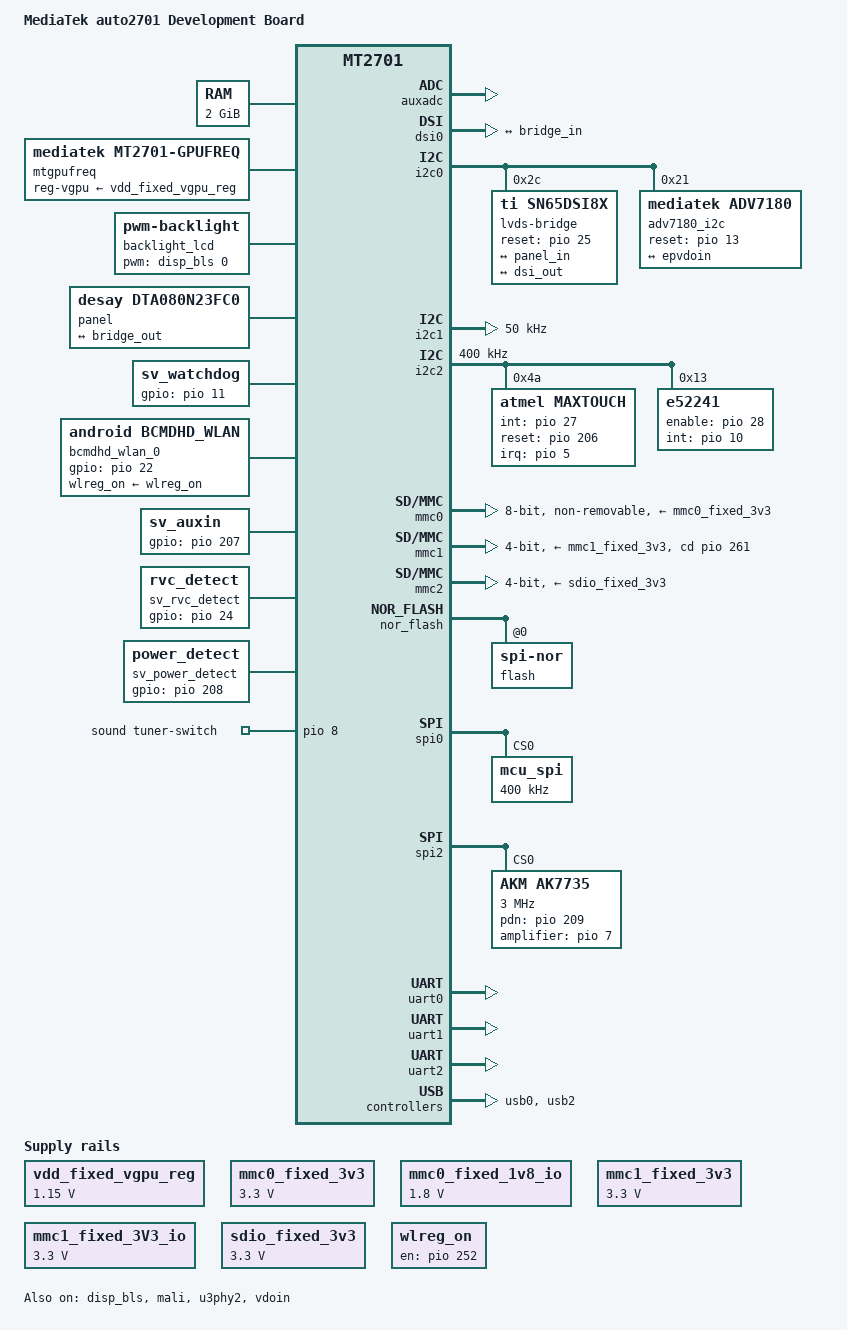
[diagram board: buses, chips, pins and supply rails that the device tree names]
/*
 * Copyright (c) 2015 MediaTek Inc.
 * Author: Erin Lo <erin.lo@mediatek.com>
 *
 * This program is free software; you can redistribute it and/or modify
 * it under the terms of the GNU General Public License as published by
 * the Free Software Foundation; either version 2 of the License.
 *
 * This program is distributed in the hope that it will be useful,
 * but WITHOUT ANY WARRANTY; without even the implied warranty of
 * MERCHANTABILITY or FITNESS FOR A PARTICULAR PURPOSE.  See the
 * GNU General Public License for more details.
 */

#include "mt2701.dtsi"

/ {
	model = "MediaTek auto2701 Development Board";
	compatible = "mediatek,auto2701evb2-ivi","mediatek,mt2701";

	memory {
		reg = <0 0x80000000 0 0x7fc00000>;
	};

	mtcpufreq {
		compatible = "mediatek,mt2701-cpufreq";
	};

	mtgpufreq {
		compatible = "mediatek,mt2701-gpufreq";
		reg-vgpu-supply = <&vdd_fixed_vgpu_reg>;
	};

	/* pwm */
	backlight_lcd: backlight_lcd {
		compatible = "pwm-backlight";
		pwms = <&disp_bls 0 100000>;
		brightness-levels = <
			  0  16  32  48  64  80  96 112
			128 144 160 176 192 208 224 240
			255
		>;
		default-brightness-level = <9>;
	};

	panel: panel {
		compatible = "desay,dta080n23fc0";

		port {
			panel_in: endpoint {
				remote-endpoint = <&bridge_out>;
			};
		};
	};

	vdd_fixed_vgpu_reg: fixedregulator@0 {
		compatible = "regulator-fixed";
		regulator-name = "vdd_fixed_vgpu";
		regulator-min-microvolt = <1150000>;
		regulator-max-microvolt = <1150000>;
	};

	mmc0_fixed_3v3: fixedregulator@1 {
		compatible = "regulator-fixed";
		regulator-name = "mmc0_power";
		regulator-min-microvolt = <3300000>;
		regulator-max-microvolt = <3300000>;
		enable-active-high;
	};

	mmc0_fixed_1v8_io: fixedregulator@2 {
		compatible = "regulator-fixed";
		regulator-name = "mmc0_io";
		regulator-min-microvolt = <1800000>;
		regulator-max-microvolt = <1800000>;
		enable-active-high;
	};

	mmc1_fixed_3v3: fixedregulator@3 {
		compatible = "regulator-fixed";
		regulator-name = "mmc1_power";
		regulator-min-microvolt = <3300000>;
		regulator-max-microvolt = <3300000>;
		enable-active-high;
	};

	mmc1_fixed_3V3_io: fixedregulator@4 {
		compatible = "regulator-fixed";
		regulator-name = "mmc1_io";
		regulator-min-microvolt = <3300000>;
		regulator-max-microvolt = <3300000>;
		enable-active-high;
	};

	sv_uio {
		compatible = "sv_uio";
		status = "okay";
		/* #define GPIOF_OUT_INIT_LOW	0 */
		/* #define GPIOF_OUT_INIT_HIGH	1 */
		/* #define GPIOF_DIR_IN		2 */

		#define GPIOF_DIR_OUT	(0 << 0)
		#define GPIOF_DIR_IN	(1 << 0)

		#define GPIOF_INIT_LOW	(0 << 1)
		#define GPIOF_INIT_HIGH	(1 << 1)

		#define GPIOF_IN		(GPIOF_DIR_IN)
		#define GPIOF_OUT_INIT_LOW	(GPIOF_DIR_OUT | GPIOF_INIT_LOW)
		#define GPIOF_OUT_INIT_HIGH	(GPIOF_DIR_OUT | GPIOF_INIT_HIGH)

		SOC2BT_EN {
			label = "bt_en";	/* SOC2BT_EN */
			gpios = <&pio 255 0>;
			flags = < GPIOF_OUT_INIT_HIGH >;
		};

		SOC2_TFT_EN {
			label = "backlight_en";	/* SOC2TFT_PWR_EN */
			gpios = <&pio 29 0>;
			flags = < GPIOF_OUT_INIT_HIGH >;
		};

		SOC2IPOD_RESET {
			label = "ipod_reset";	/* SOC2IPOD_RESET */
			gpios = <&pio 248 0>;
			flags = < GPIOF_OUT_INIT_LOW >;
		};

		GPS2SOC_AC_DET {
			label = "gps_ac_det";	/* GPS2SOC_AC_DET */
			gpios = <&pio 84 0>;
			flags = < GPIOF_IN >;
		};
	};

	watchdog{
		pinctrl-names = "default";
		pinctrl-0 = <&watchdog_gpio>;
		status = "okay";
		compatible = "sv_watchdog";
		gpios = <&pio 11 0>;

		};

	sdio_fixed_3v3: fixedregulator@5 {
		compatible = "regulator-fixed";
		regulator-name = "3V3";
		regulator-min-microvolt = <3300000>;
		regulator-max-microvolt = <3300000>;
		enable-active-high;
	};

	wlreg_on: fixedregulator@6 {
		compatible = "regulator-fixed";
		regulator-name = "wlreg_on";
		gpio = <&pio 252 0>;
		startup-delay-us = <600000>;
		enable-active-high;
	};

	bcmdhd_wlan_0: bcmdhd_wlan@7 {
		compatible = "android,bcmdhd_wlan";
		gpios = <&pio 22 0>;
		wlreg_on-supply = <&wlreg_on>;
	};

	sv_auxin {
		compatible = "sv_auxin";
		status = "okay";

		major-no = <233>;
		gpios = <&pio 207 0>;
	};

	sv_rvc_detect: sv_rvc_detect {
		pinctrl-names = "default";
		pinctrl-0 = <&rvc_detect_pin>;
		status = "okay";
		compatible = "rvc_detect";

		major-no = <234>;
		gpios = <&pio 24 0>;
	};

	sv_power_detect: sv_power_detect {
		pinctrl-names = "default";
		pinctrl-0 = <&power_detect_pin>;
		status = "okay";
		compatible = "power_detect";

		major-no = <235>;
		gpios = <&pio 208 0>;
	};
};

&auxadc {
	status = "okay";
};

&disp_bls {
	status = "okay";
};

&dsi0 {
	status = "okay";
	pinctrl-names = "default";
	pinctrl-0 = <&mipi_dsi_pin>;

	ports {
		#address-cells = <1>;
		#size-cells = <0>;

		port {
			dsi_out: endpoint {
				remote-endpoint = <&bridge_in>;
			};
		};
	};
};

&dpi0 {
	status = "disabled";
	port {
		dpi0_out: endpoint@0 {
			remote-endpoint = <&hdmi0_in>;
		};
		dpi0_in: endpoint@1 {
		};
	};
};

&gsw {
	interrupt-parent = <&pio>;
	interrupts = <129 IRQ_TYPE_EDGE_RISING>;
	status = "disabled";
};

&hdmi0 {
	status = "disabled";
};

&hdmiddc0 {
	status = "disabled";
};

&i2c0 {
	pinctrl-names = "default";
	pinctrl-0 = <&i2c0_pins_a>;
	status = "okay";

	lvds-bridge@2c {
		compatible = "ti,sn65dsi8x";
		reg = <0x2c>;
		pinctrl-names = "default";
		pinctrl-0 = <&bridge_reset_pin>;
		reset-gpios = <&pio 25 0>;
		#address-cells = <1>;
		#size-cells = <0>;

		ports {
			port@0 {
				bridge_out: endpoint {
					remote-endpoint = <&panel_in>;
				};
			};

			port@1 {
				bridge_in: endpoint {
					remote-endpoint = <&dsi_out>;
				};
			};
		};
	};
	
	adv7180_i2c@42 {
		compatible = "mediatek,adv7180";
		reg = <0x21>;
		pinctrl-names = "default";
		pinctrl-0 = <&camera_reset_pin>;
		reset-gpios = <&pio 13 0>;
		port {
			adv7180: endpoint {
				remote-endpoint = <&epvdoin>;
			};
		};
	};
};

&i2c1 {
	pinctrl-names = "default";
	pinctrl-0 = <&i2c1_pins_a>;
	status = "okay";
	clock-frequency = <50000>;
};

&i2c2 {
	pinctrl-names = "default";
	pinctrl-0 = <&i2c2_pins_a>;
	status = "okay";
   	clock-frequency = <400000>;

	maxtouch: touchscreen@4a {
		compatible = "atmel,maxtouch";
		reg = <0x4a>;
		int-gpio = <&pio 27 0>;
		interrupt-parent = <&pio>;
		interrupts = <5 IRQ_TYPE_EDGE_FALLING>;
		linux,gpio-keymap = <	0x0304	/* NAV   */
					0x030F	/* POWER */
					0x0300	/* RADIO */
					0x0318	/* VOL-  */
					0x0308	/* HOME  */
					0x0317	/* VOL+  */
		>;
		/* The configuration file should be downloaded once on
		 * production stage. It will be backed up to mXT449 NVRAM.
		 *
		 * atmel,cfg_name = "mxt449-cfg.raw";
		 */
		 atmel,reset-gpio = <&pio 206 0>;		
	};

	 e52241: e52241@13 {
		compatible = "e52241";
		reg = <0x13>;
		/* interrupt-parent = <&pio>; */
		/* interrupts = <6 IRQ_TYPE_LEVEL_LOW>; */
		enable-inverted = <1>;
		enable-gpio = <&pio 28 0>;
		int-gpio    = <&pio 10 0>;
    };
};

&mali {
	vdd_g3d-supply = <&vdd_fixed_vgpu_reg>;
	status = "okay";
};

&mmc0 {
	pinctrl-names = "default", "state_uhs";
	pinctrl-0 = <&mmc0_pins_default>;
	pinctrl-1 = <&mmc0_pins_uhs>;
	status = "okay";
	bus-width = <8>;
	max-frequency = <50000000>;
	mmc-ddr-1_8v;
	cap-mmc-highspeed;
	vmmc-supply = <&mmc0_fixed_3v3>;
	vqmmc-supply = <&mmc0_fixed_1v8_io>;
	non-removable;
};

&mmc1 {
	pinctrl-names = "default", "state_uhs";
	pinctrl-0 = <&mmc1_pins_default>;
	pinctrl-1 = <&mmc1_pins_uhs>;
	status = "okay";
	bus-width = <4>;
	max-frequency = <50000000>;
	cap-sd-highspeed;
	cd-gpios = <&pio 261 0>;
	vmmc-supply = <&mmc1_fixed_3v3>;
	vqmmc-supply = <&mmc1_fixed_3V3_io>;
};

&mmc2 {
	pinctrl-names = "default", "state_uhs";
	pinctrl-0 = <&mmc2_pins_default>;
	pinctrl-1 = <&mmc2_pins_uhs>;	
	status = "okay";
	bus-width = <4>;
	max-frequency = <50000000>;
	cap-sd-highspeed;
	sd-uhs-sdr12;
	sd-uhs-sdr25;
	sd-uhs-sdr50;
	vmmc-supply = <&sdio_fixed_3v3>;
	vqmmc-supply = <&sdio_fixed_3v3>;
};

&nor_flash {
	pinctrl-names = "default";
	pinctrl-0 = <&nor_gpio1_pins>;
	status = "okay";
	bus-width = <8>;
	max-frequency = <50000000>;
	non-removable;
	flash@0 {
		compatible = "jedec,spi-nor";
		reg = <0>;
	};
};

&pio {
	pinctrl-names = "default";
	pinctrl-0 = <&state_default>;

	aud_pins_default: audiodefault {
		pins_cmd_dat {
			pinmux = <MT2701_PIN_49_I2S0_DATA__FUNC_I2S0_DATA>,
				 <MT2701_PIN_72_I2S0_DATA_IN__FUNC_I2S0_DATA_IN>,
				 <MT2701_PIN_73_I2S0_LRCK__FUNC_I2S0_LRCK>,
				 <MT2701_PIN_74_I2S0_BCK__FUNC_I2S0_BCK>,
				 <MT2701_PIN_33_I2S1_DATA__FUNC_I2S1_DATA>,
				 <MT2701_PIN_34_I2S1_DATA_IN__FUNC_I2S1_DATA_IN>,
				 <MT2701_PIN_35_I2S1_BCK__FUNC_I2S1_BCK>,
				 <MT2701_PIN_36_I2S1_LRCK__FUNC_I2S1_LRCK>;
			drive-strength = <MTK_DRIVE_12mA>;
			bias-pull-down;
		};
	};

	aud_pins_tuner_switch: audiotunerswitch {
		pins_cmd_dat {
			pinmux = <MT2701_PIN_8_SPI1_MI__FUNC_GPIO8>;
			output-low;
		};
	};

	aud_pin_dsp_amplifier: audiodspamplifier {
		pins_cmd_dat {
			pinmux = <MT2701_PIN_7_SPI1_CSN__FUNC_GPIO7>,
				 <MT2701_PIN_209_AUD_EXT_CK2__FUNC_GPIO209>;
			output-low;
		};
	};

	aud_pin_auxin_detect: audioauxindetect {
		pins_cmd_dat {
			pinmux = <MT2701_PIN_207_PWM4__FUNC_GPIO207>;
			output-low;
		};
	};

	aud_pins_i2s0clk_pin_disable: audioi2s0clkdisable {
		pins_cmd_dat {
			pinmux = <MT2701_PIN_73_I2S0_LRCK__FUNC_GPIO73>,
				 <MT2701_PIN_74_I2S0_BCK__FUNC_GPIO74>;
			input-enable;
			bias-disable;
		};
	};

	aud_pins_i2s0clk_pin_enable: audioi2s0clkenable {
		pins_cmd_dat {
			pinmux = <MT2701_PIN_73_I2S0_LRCK__FUNC_I2S0_LRCK>,
				 <MT2701_PIN_74_I2S0_BCK__FUNC_I2S0_BCK>;
			drive-strength = <MTK_DRIVE_12mA>;
			bias-pull-down;
		};
	};

	eth_default: eth@0 {
		pins_eth {
			pinmux = <MT2701_PIN_275_MDC__FUNC_MDC>,
				<MT2701_PIN_276_MDIO__FUNC_MDIO>,
				<MT2701_PIN_262_G2_TXEN__FUNC_G2_TXEN>,
				<MT2701_PIN_263_G2_TXD3__FUNC_G2_TXD3>,
				<MT2701_PIN_264_G2_TXD2__FUNC_G2_TXD2>,
				<MT2701_PIN_265_G2_TXD1__FUNC_G2_TXD1>,
				<MT2701_PIN_266_G2_TXD0__FUNC_G2_TXD0>,
				<MT2701_PIN_267_G2_TXC__FUNC_G2_TXC>,
				<MT2701_PIN_268_G2_RXC__FUNC_G2_RXC>,
				<MT2701_PIN_269_G2_RXD0__FUNC_G2_RXD0>,
				<MT2701_PIN_270_G2_RXD1__FUNC_G2_RXD1>,
				<MT2701_PIN_271_G2_RXD2__FUNC_G2_RXD2>,
				<MT2701_PIN_272_G2_RXD3__FUNC_G2_RXD3>,
				<MT2701_PIN_274_G2_RXDV__FUNC_G2_RXDV>;
		};
	};

	i2c0_pins_a: i2c0@0 {
		pins1 {
			pinmux = <MT2701_PIN_75_SDA0__FUNC_SDA0>,
				 <MT2701_PIN_76_SCL0__FUNC_SCL0>;
			bias-disable;
		};
	};

	i2c1_pins_a: i2c1@0 {
		pins1 {
			pinmux = <MT2701_PIN_57_SDA1__FUNC_SDA1>,
				 <MT2701_PIN_58_SCL1__FUNC_SCL1>;
			bias-disable;
		};

		/* Soc2TFT_PWR_EN */
		tft_pwd_pins {
			pinmux = <MT2701_PIN_29_EINT7__FUNC_GPIO29>;
			slew-rate = <1>;
			output-high;
		};
	};

	i2c2_pins_a: i2c2@0 {
		pins1 {
			pinmux = <MT2701_PIN_77_SDA2__FUNC_SDA2>,
				 <MT2701_PIN_78_SCL2__FUNC_SCL2>;
			bias-disable;
		};
		pins_cmd_dat1 {
				pins = <MT2701_PIN_206_PWM3__FUNC_GPIO206>;
				slew-rate = <1>;
	            		output-high;
		};
		pins_cmd_dat2 {
    				pins = <MT2701_PIN_27_EINT5__FUNC_GPIO27>;
				input-enable;
				bias-disable;
		};
		pins_e52241_enable {
				pins = <MT2701_PIN_28_EINT6__FUNC_GPIO28>;
				slew-rate = <1>;
	            		output-low;
		};
		pins_e52241_int {
				pins = <MT2701_PIN_10_RTC32K_CK__FUNC_GPIO10>;
				input-enable;
				bias-disable;
		};

	};

	mmc0_pins_default: mmc0default {
		pins_cmd_dat {
			pinmux = <MT2701_PIN_121_MSDC0_DAT0__FUNC_MSDC0_DAT0>,
				<MT2701_PIN_120_MSDC0_DAT1__FUNC_MSDC0_DAT1>,
				<MT2701_PIN_119_MSDC0_DAT2__FUNC_MSDC0_DAT2>,
				<MT2701_PIN_118_MSDC0_DAT3__FUNC_MSDC0_DAT3>,
				<MT2701_PIN_114_MSDC0_DAT4__FUNC_MSDC0_DAT4>,
				<MT2701_PIN_113_MSDC0_DAT5__FUNC_MSDC0_DAT5>,
				<MT2701_PIN_112_MSDC0_DAT6__FUNC_MSDC0_DAT6>,
				<MT2701_PIN_111_MSDC0_DAT7__FUNC_MSDC0_DAT7>,
				<MT2701_PIN_116_MSDC0_CMD__FUNC_MSDC0_CMD>;
			input-enable;
			bias-pull-up;
		};

		pins_clk {
			pinmux = <MT2701_PIN_117_MSDC0_CLK__FUNC_MSDC0_CLK>;
			bias-pull-down;
		};

		pins_rst {
			pinmux = <MT2701_PIN_115_MSDC0_RSTB__FUNC_MSDC0_RSTB>;
			bias-pull-up;
		};
	};

	mmc0_pins_uhs: mmc0@0{
		pins_cmd_dat {
			pinmux = <MT2701_PIN_121_MSDC0_DAT0__FUNC_MSDC0_DAT0>,
				<MT2701_PIN_120_MSDC0_DAT1__FUNC_MSDC0_DAT1>,
				<MT2701_PIN_119_MSDC0_DAT2__FUNC_MSDC0_DAT2>,
				<MT2701_PIN_118_MSDC0_DAT3__FUNC_MSDC0_DAT3>,
				<MT2701_PIN_114_MSDC0_DAT4__FUNC_MSDC0_DAT4>,
				<MT2701_PIN_113_MSDC0_DAT5__FUNC_MSDC0_DAT5>,
				<MT2701_PIN_112_MSDC0_DAT6__FUNC_MSDC0_DAT6>,
				<MT2701_PIN_111_MSDC0_DAT7__FUNC_MSDC0_DAT7>,
				<MT2701_PIN_116_MSDC0_CMD__FUNC_MSDC0_CMD>;
			input-enable;
			drive-strength = <MTK_DRIVE_2mA>;
			bias-pull-up = <MTK_PUPD_SET_R1R0_01>;
		};

		pins_clk {
			pinmux = <MT2701_PIN_117_MSDC0_CLK__FUNC_MSDC0_CLK>;
			drive-strength = <MTK_DRIVE_2mA>;
			bias-pull-down = <MTK_PUPD_SET_R1R0_01>;
		};

		pins_rst {
			pinmux = <MT2701_PIN_115_MSDC0_RSTB__FUNC_MSDC0_RSTB>;
			bias-pull-up;
		};
	};

	mmc1_pins_default: mmc1default {
		pins_cmd_dat {
			pinmux = <MT2701_PIN_107_MSDC1_DAT0__FUNC_MSDC1_DAT0>,
			     <MT2701_PIN_108_MSDC1_DAT1__FUNC_MSDC1_DAT1>,
			     <MT2701_PIN_109_MSDC1_DAT2__FUNC_MSDC1_DAT2>,
			     <MT2701_PIN_110_MSDC1_DAT3__FUNC_MSDC1_DAT3>,
			     <MT2701_PIN_105_MSDC1_CMD__FUNC_MSDC1_CMD>;
			input-enable;
			drive-strength = <MTK_DRIVE_4mA>;
			bias-pull-up = <MTK_PUPD_SET_R1R0_10>;
		};

		pins_clk {
			pinmux = <MT2701_PIN_106_MSDC1_CLK__FUNC_MSDC1_CLK>;
			bias-pull-down;
			drive-strength = <MTK_DRIVE_4mA>;
		};

		pins_insert {
			pinmux = <MT2701_PIN_261_MSDC1_INS__FUNC_GPIO261>;
			bias-pull-up;
		};
	};

	mmc1_pins_uhs: mmc1@0 {
		pins_cmd_dat {
			pinmux = <MT2701_PIN_107_MSDC1_DAT0__FUNC_MSDC1_DAT0>,
			     <MT2701_PIN_108_MSDC1_DAT1__FUNC_MSDC1_DAT1>,
			     <MT2701_PIN_109_MSDC1_DAT2__FUNC_MSDC1_DAT2>,
			     <MT2701_PIN_110_MSDC1_DAT3__FUNC_MSDC1_DAT3>,
			     <MT2701_PIN_105_MSDC1_CMD__FUNC_MSDC1_CMD>;
			input-enable;
			drive-strength = <MTK_DRIVE_4mA>;
			bias-pull-up = <MTK_PUPD_SET_R1R0_10>;
		};

		pins_clk {
			pinmux = <MT2701_PIN_106_MSDC1_CLK__FUNC_MSDC1_CLK>;
			drive-strength = <MTK_DRIVE_4mA>;
			bias-pull-down = <MTK_PUPD_SET_R1R0_10>;
		};
	};

	mmc2_pins_default: mmc2default {
		pins_cmd_dat {
			pinmux = <MT2701_PIN_254_MSDC0E_DAT3__FUNC_MSDC3_DAT3>,
			     <MT2701_PIN_253_MSDC0E_DAT4__FUNC_MSDC3_DAT4>,
			     <MT2701_PIN_256_MSDC0E_DAT1__FUNC_MSDC3_DAT1>,
			     <MT2701_PIN_257_MSDC0E_DAT0__FUNC_MSDC3_DAT0>,
			     <MT2701_PIN_251_MSDC0E_DAT6__FUNC_MSDC3_DAT6>;
			input-enable;
			drive-strength = <MTK_DRIVE_4mA>;
			bias-pull-up = <MTK_PUPD_SET_R1R0_10>;
		};

		pins_clk {
			pinmux = <MT2701_PIN_250_MSDC0E_DAT7__FUNC_MSDC3_DAT7>;
			bias-pull-down;
			drive-strength = <MTK_DRIVE_4mA>;
		};
		wl_en_on {
			pinmux = <MT2701_PIN_252_MSDC0E_DAT5__FUNC_GPIO252>;
			output-high;
		};
		wl_bcm_irq {
			pinmux = <MT2701_PIN_22_EINT0__FUNC_GPIO22>;
			input-enable;
		};
	};

	mmc2_pins_uhs: mmc2@0 {
		pins_cmd_dat {
			pinmux = <MT2701_PIN_254_MSDC0E_DAT3__FUNC_MSDC3_DAT3>,
			     <MT2701_PIN_253_MSDC0E_DAT4__FUNC_MSDC3_DAT4>,
			     <MT2701_PIN_256_MSDC0E_DAT1__FUNC_MSDC3_DAT1>,
			     <MT2701_PIN_257_MSDC0E_DAT0__FUNC_MSDC3_DAT0>,
			     <MT2701_PIN_251_MSDC0E_DAT6__FUNC_MSDC3_DAT6>;
			input-enable;
			drive-strength = <MTK_DRIVE_4mA>;
			bias-pull-up = <MTK_PUPD_SET_R1R0_10>;
		};

		pins_clk {
			pinmux = <MT2701_PIN_250_MSDC0E_DAT7__FUNC_MSDC3_DAT7>;
			bias-pull-down;
			drive-strength = <MTK_DRIVE_4mA>;
		};
		wl_en_on {
			pinmux = <MT2701_PIN_252_MSDC0E_DAT5__FUNC_GPIO252>;
			output-high;
		};
		wl_bcm_irq {
			pinmux = <MT2701_PIN_22_EINT0__FUNC_GPIO22>;
			input-enable;
		};
	};

	nor_gpio1_pins: nor {
		pins1 {
			pinmux = <MT2701_PIN_240_EXT_XCS__FUNC_EXT_XCS>,
				 <MT2701_PIN_236_EXT_SDIO3__FUNC_EXT_SDIO3>,
				 <MT2701_PIN_239_EXT_SDIO0__FUNC_EXT_SDIO0>;
			input-enable;
			drive-strength = <MTK_DRIVE_4mA>;
			bias-pull-up;
		};

		pins2 {
			pinmux = <MT2701_PIN_238_EXT_SDIO1__FUNC_EXT_SDIO1>;
			drive-strength = <MTK_DRIVE_4mA>;
			bias-pull-up;
		};

		pins3 {
			pinmux = <MT2701_PIN_237_EXT_SDIO2__FUNC_EXT_SDIO2>;
			drive-strength = <MTK_DRIVE_4mA>;
			bias-pull-up;
		};

		pins_clk {
			pinmux = <MT2701_PIN_241_EXT_SCK__FUNC_EXT_SCK>;
			input-enable;
			drive-strength = <MTK_DRIVE_4mA>;
			bias-pull-up;
		};
	};

	/* ++++++ Connectivity GPIO configs ++++++ */
	pcfg_combo_pcm_daiclk_pull_dis_cfgs: cfg_gpio18_mode3_pull_dis {
		combo_pins {
			pinmux = <MT2701_PIN_18_PCM_CLK__FUNC_PCM_CLK0>;
			bias-disable;
		};
	};

	pcfg_combo_pcm_daisync_pull_dis_cfgs: cfg_gpio19_mode3_pull_dis {
		combo_pins {
			pinmux = <MT2701_PIN_19_PCM_SYNC__FUNC_PCM_SYNC>;
			bias-disable;
		};
	};

	pcfg_combo_pcm_daipcmin_pull_dis_cfgs: cfg_gpio20_mode3_pull_dis {
		combo_pins {
			pinmux = <MT2701_PIN_20_PCM_RX__FUNC_PCM_RX>;
			bias-disable;
		};
	};

	pcfg_combo_pcm_daipcmout_pull_dis_cfgs: cfg_gpio21_moide3_pull_dis {
		combo_pins {
			pinmux = <MT2701_PIN_21_PCM_TX__FUNC_PCM_TX>;
			bias-disable;
		};
	};

	pcfg_combo_wifi_eint_in_pull_dis_cfgs: cfg_gpio81_mode1_in_pull_dis {
		combo_pins {
		pinmux = <MT2701_PIN_81_URXD1__FUNC_GPIO81>;
			input-enable;
			bias-disable;
		};
	};
	pcfg_combo_wifi_eint_in_pullup_cfgs: cfg_gpio81_mode1_in_pullup {
		combo_pins {
			pinmux = <MT2701_PIN_81_URXD1__FUNC_GPIO81>;
			input-enable;
			bias-pull-up;
		};
	};

	spi_pins_a: spi0@0 {
		pins_spi {
			pinmux = <MT2701_PIN_53_SPI0_CSN__FUNC_SPI0_CS>,
				<MT2701_PIN_54_SPI0_CK__FUNC_SPI0_CK>,
				<MT2701_PIN_55_SPI0_MI__FUNC_SPI0_MI>,
				<MT2701_PIN_56_SPI0_MO__FUNC_SPI0_MO>;
			bias-disable;
		};
		
		pins_cmd_dat1 {
    				pins = <MT2701_PIN_23_EINT1__FUNC_GPIO23>;
				input-enable;
				bias-disable;
		};
	};

	spi_pins_b: spi1@0 {
		pins_spi {
			pinmux = <MT2701_PIN_7_SPI1_CSN__FUNC_SPI1_CS>,
				<MT2701_PIN_8_SPI1_MI__FUNC_SPI1_MI>,
				<MT2701_PIN_9_SPI1_MO__FUNC_SPI1_MO>,
				<MT2701_PIN_199_SPI1_CLK__FUNC_SPI1_CK>;
			bias-disable;
		};
	};

	spi_pins_c: spi2@0 {
		pins_spi {
			pinmux = <MT2701_PIN_101_SPI2_CSN__FUNC_SPI2_CS>,
				<MT2701_PIN_102_SPI2_MI__FUNC_SPI2_MI>,
				<MT2701_PIN_103_SPI2_MO__FUNC_SPI2_MO>,
				<MT2701_PIN_104_SPI2_CLK__FUNC_SPI2_CK>;
			bias-disable;
		};
	};

	state_default: pinctrl {
		/* Ipod Reset configs */
		ipod_reset_pins {
			pinmux = <MT2701_PIN_248_HDMI_TESTOUTP_RX__FUNC_GPIO248>;
		};

		/* GPS antenna connection detect */
		gps_ant_dec_pin {
			pinmux = <MT2701_PIN_84_DSI_TE__FUNC_GPIO84>;
			input-enable;
			bias-pull-up;
		};
	};

	watchdog_gpio:watchdog {
			pinmux = <MT2701_PIN_11_WATCHDOG__FUNC_GPIO11>;
		};

	usb_default: default {
	};

	usb_iddig: iddig_irq_init{
		pins_cmd_dat {
			pinmux = <MT2701_PIN_44_NCEB1__FUNC_GPIO44>;
			bias-pull-up ;
		};
	};

	usb_drvvbus: drvvbus_init{
		pins_cmd_dat {
			pinmux = <MT2701_PIN_45_NCEB0__FUNC_GPIO45>;
			output-low;
		};
	};

	usb_drvvbus_low: drvvbus_low{
		pins_cmd_dat {
			pinmux = <MT2701_PIN_45_NCEB0__FUNC_GPIO45>;
			slew-rate = <1>;
			output-low;
		};
	};

	usb_drvvbus_high: drvvbus_high{
		pins_cmd_dat {
			pinmux = <MT2701_PIN_45_NCEB0__FUNC_GPIO45>;
			output-high;
		};
	};

	rvc_detect_pin: rvc_detect_pin {
		pins_cmd_dat {
			pinmux = <MT2701_PIN_24_EINT2__FUNC_GPIO24>;
			bias-pull-down;
		};
	};

	power_detect_pin: power_detect_pin {
		pins_cmd_dat {
			pinmux = <MT2701_PIN_208_AUD_EXT_CK1__FUNC_GPIO208>;
			input-enable;
		};
	};

	bridge_reset_pin: bridge_reset_pin {
		pins_cmd_dat {
			pinmux = <MT2701_PIN_25_EINT3__FUNC_GPIO25>;
			output-low;
		};
	};

	camera_reset_pin: camera_reset_pin {
		pins_cmd_dat {
			pinmux = <MT2701_PIN_13_SRCLKENAI__FUNC_GPIO13>;
			output-low;
		};
	};
	mipi_dsi_pin: mipi_dsi_pin {
		pins_cmd_dat {
			pinmux = <MT2701_PIN_100_TDP0__FUNC_TDP0>,
				<MT2701_PIN_99_TDN0__FUNC_TDN0>,
				<MT2701_PIN_98_TDP1__FUNC_TDP1>,
				<MT2701_PIN_97_TDN1__FUNC_TDN1>,
				<MT2701_PIN_96_TCP__FUNC_TCP>,
				<MT2701_PIN_95_TCN__FUNC_TCN>,
				<MT2701_PIN_94_TDP2__FUNC_TDP2>,
				<MT2701_PIN_93_TDN2__FUNC_TDN2>,
				<MT2701_PIN_92_TDP3__FUNC_TDP3>,
				<MT2701_PIN_91_TDN3__FUNC_TDN3>;
		};
	};

	uart1_pins: uart1_pins{
		pins_cmd_dat {
			pinmux = <MT2701_PIN_82_UTXD1__FUNC_UTXD1>,
				<MT2701_PIN_81_URXD1__FUNC_URXD1>;
		};
	};

	uart2_pins: uart2_pins{
		pins_cmd_dat {
			pinmux = <MT2701_PIN_14_URXD2__FUNC_URXD2>,
				<MT2701_PIN_243_UCTS2__FUNC_UCTS2>,
				<MT2701_PIN_15_UTXD2__FUNC_UTXD2>,
				<MT2701_PIN_242_URTS2__FUNC_URTS2>;
			bias-pull-up;
		};

		pins_bt_enable {
			pinmux = <MT2701_PIN_255_MSDC0E_DAT2__FUNC_GPIO255>;
			slew-rate = <1>;
			output-high;
		};
	};
};


&sound {
	/* ak7735 Machine name */
	compatible = "mediatek,mt2701-ak7735-machine";
	mediatek,audio-codec = <&ak7735>;
	pinctrl-names = "default", "audi2s0clk-pin-disable", "audi2s0clk-pin-enable";
	pinctrl-0 = <&aud_pins_default>;
	pinctrl-1 = <&aud_pins_i2s0clk_pin_disable>;
	pinctrl-2 = <&aud_pins_i2s0clk_pin_enable>;
	pinctrl-3 = <&aud_pins_tuner_switch>;
	tuner-switch-gpio = <&pio 8 0>;
	status = "okay";
};

&spi0 {
	pinctrl-names = "default";
	pinctrl-0 = <&spi_pins_a>;
	status = "okay";

	mcu_spi: spi@0 {
		compatible = "mcu_spi";
		reg = <0>;
		spi-max-frequency = <400000>;
		chip_select = <0>;
	};
};

&spi1 {
	pinctrl-names = "default";
	pinctrl-0 = <&spi_pins_b>;
	status = "disabled";

	spidev1: spi@0 {
		compatible = "linux,spidev";
		reg = <0>;
		spi-max-frequency = <1000000>;
	};
};

&spi2 {
	pinctrl-names = "default";
	pinctrl-0 = <&spi_pins_c>;
	status = "okay";

	ak7735: spi@2 {
		compatible = "AKM,ak7735";
		pinctrl-name = "default";
		pinctrl-0 = <&aud_pins_tuner_switch>;
		reg = <0>;
		spi-max-frequency = <3000000>;
		pdn-gpio = <&pio 209 0>;
		amplifier-gpio = <&pio 7 0>;
	};
};

&u3phy2 {
	status = "okay";
};

&uart0 {
	status = "okay";
};

&uart1 {
	status = "okay";
	pinctrl-names = "default";
	pinctrl-0 = <&uart1_pins>;
};

&uart2 {
	status = "okay";
	pinctrl-names = "default";
	pinctrl-0 = <&uart2_pins>;
};

&usb0 {
	pinctrl-names = "default", "iddig_irq_init", "drvvbus_init", "drvvbus_low","drvvbus_high";
	pinctrl-0 = <&usb_default>;
	pinctrl-1 = <&usb_iddig>;
	pinctrl-2 = <&usb_drvvbus>;
	pinctrl-3 = <&usb_drvvbus_low>;
	pinctrl-4 = <&usb_drvvbus_high>;
	status = "okay";
	drvvbus_gpio = <&pio 45 0>;
	otg-iddig{
		iddig_gpio = <&pio 44 0>;
		interrupt-parent = <&pio>;
		interrupts = <267 IRQ_TYPE_LEVEL_LOW>;
	};
	vbus-detect{
		vbus_gpio = <&pio 237 0>;
		interrupt-parent = <&pio>;
		interrupts = <123 IRQ_TYPE_LEVEL_HIGH>;
	};
};

&usb2 {
	status = "okay";
};

&vdoin {
	status = "okay";
	port {
		epvdoin: endpoint {
			remote-endpoint = <&adv7180>;
		};
	};
};
